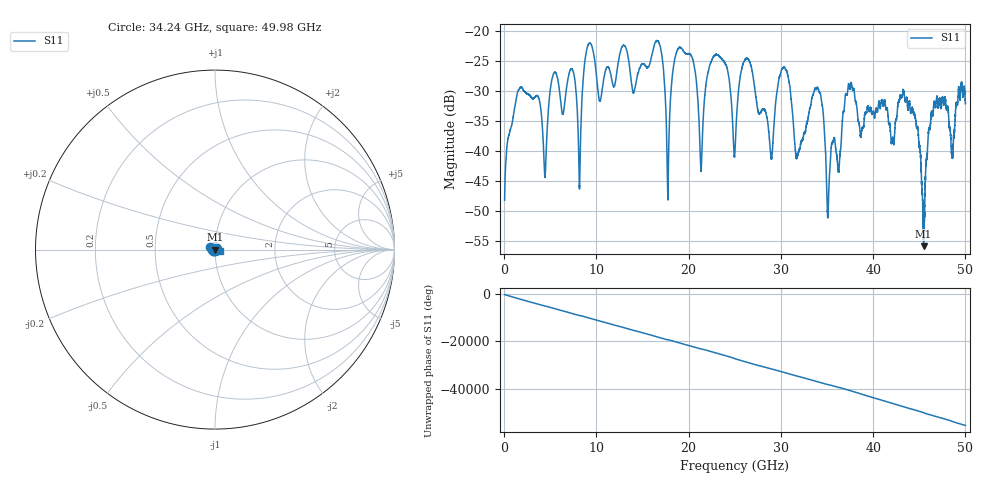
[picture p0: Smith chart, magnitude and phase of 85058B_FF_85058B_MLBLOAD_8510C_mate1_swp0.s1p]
!Created with skrf (http://scikit-rf.org).
# Hz S RI R 50.0
!freq ReS11 ImS11
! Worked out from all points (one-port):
!   10001 points, 45 MHz to 50 GHz, reference 50 ohm
!   lowest |S11| = -55.9 dB at 45.47 GHz (marker M1), VSWR 1.00, Z = 50.1 - j0.126 ohm
!   |S11| at or under -10 dB: start of sweep to end of sweep
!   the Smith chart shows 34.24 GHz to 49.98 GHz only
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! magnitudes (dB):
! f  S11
! 45 MHz  -48.2
! 1.674 GHz  -29.7
! 4.401 GHz  -44.1
! 5.32 GHz  -27.3
! 6.289 GHz  -33.7
! 7.403 GHz  -26.5
! 8.163 GHz  -46.3
! 9.117 GHz  -22.3
! 10.39 GHz  -31.7
! 12.53 GHz  -23.9
! 16.73 GHz  -21.8
! 17.75 GHz  -47.3
! 18.78 GHz  -23.2
! 20.48 GHz  -25.0
! 21.33 GHz  -43.3
! 22.98 GHz  -24.0
! 25.02 GHz  -39.9
! 26.26 GHz  -24.6
! 28.92 GHz  -41.0
! 30.19 GHz  -26.2
! 31.27 GHz  -33.8
! 34.1 GHz  -30.0
! 35.13 GHz  -49.6
! 37.51 GHz  -29.5
! 43.76 GHz  -32.8
! 45.47 GHz  -55.9
! 46.74 GHz  -32.7
! 50 GHz  -32.2
